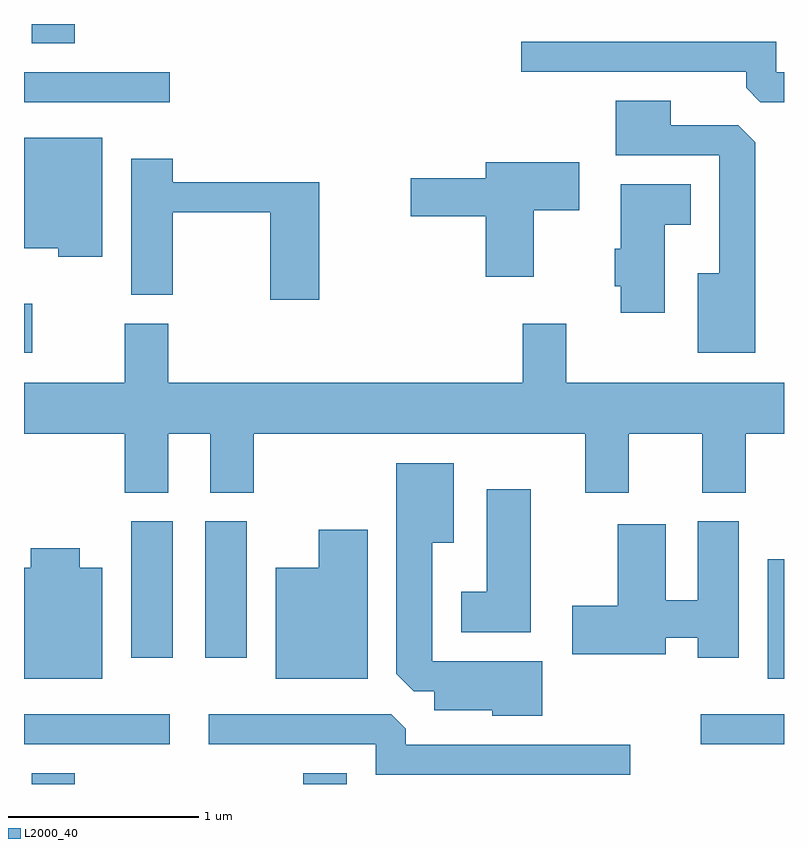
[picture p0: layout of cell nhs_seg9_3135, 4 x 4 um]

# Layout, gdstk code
import gdstk
lib = gdstk.Library(unit=1e-6, precision=1e-09)
def R(c, l, rs):  # rectangles x0, y0, x1, y1
    for r in rs: c.add(gdstk.rectangle(r[:2], r[2:], *l))
def P(c, l, *ps):  # polygons
    for p in ps: c.add(gdstk.Polygon(p, *l))
L2000_40 = (2000, 40)

nhs_seg9_3135 = lib.new_cell('nhs_seg9_3135')
R(nhs_seg9_3135, L2000_40, [(277.651,1974.432,277.879,1974.489), (279.081,1974.432,279.309,1974.489), (277.611,1974.641,278.378,1974.799), (281.173,1974.641,281.611,1974.799), (281.526,1974.986,281.611,1975.614), (278.176,1975.096,278.394,1975.814), (278.566,1975.096,278.784,1975.814), (277.611,1976.701,277.654,1976.959), (277.611,1978.021,278.378,1978.179), (277.651,1978.331,277.879,1978.432)])
P(nhs_seg9_3135, L2000_40, [(281.611,1978.179),(281.569,1978.179),(281.569,1978.339),(280.228,1978.339),(280.228,1978.181),(281.411,1978.181),(281.411,1978.097),(281.487,1978.021),(281.611,1978.021)],
  [(281.459,1977.809),(281.369,1977.899),(281.014,1977.899),(281.014,1978.029),(280.726,1978.029),(280.726,1977.741),(281.271,1977.741),(281.271,1977.119),(281.156,1977.119),(281.156,1976.701),(281.459,1976.701)],
  [(278.024,1977.834),(277.611,1977.834),(277.611,1977.251),(277.791,1977.251),(277.791,1977.206),(278.024,1977.206)],
  [(279.164,1977.599),(278.394,1977.599),(278.394,1977.724),(278.176,1977.724),(278.176,1977.006),(278.394,1977.006),(278.394,1977.441),(278.906,1977.441),(278.906,1976.981),(279.164,1976.981)],
  [(280.294,1977.451),(280.534,1977.451),(280.534,1977.704),(280.041,1977.704),(280.041,1977.619),(279.646,1977.619),(279.646,1977.421),(280.041,1977.421),(280.041,1977.101),(280.294,1977.101)],
  [(280.984,1977.376),(281.119,1977.376),(281.119,1977.589),(280.751,1977.589),(280.751,1977.249),(280.721,1977.249),(280.721,1977.051),(280.751,1977.051),(280.751,1976.911),(280.984,1976.911)],
  [(278.369,1976.276),(278.591,1976.276),(278.591,1975.966),(278.819,1975.966),(278.819,1976.276),(280.566,1976.276),(280.566,1975.966),(280.794,1975.966),(280.794,1976.276),(281.181,1976.276),(281.181,1975.966),(281.409,1975.966),(281.409,1976.276),(281.611,1976.276),(281.611,1976.544),(280.464,1976.544),(280.464,1976.854),(280.236,1976.854),(280.236,1976.544),(278.369,1976.544),(278.369,1976.854),(278.141,1976.854),(278.141,1976.544),(277.611,1976.544),(277.611,1976.276),(278.141,1976.276),(278.141,1975.966),(278.369,1975.966)],
  [(280.339,1975.079),(279.759,1975.079),(279.759,1975.701),(279.874,1975.701),(279.874,1976.119),(279.571,1976.119),(279.571,1975.012),(279.662,1974.921),(279.771,1974.921),(279.771,1974.821),(280.076,1974.821),(280.076,1974.791),(280.339,1974.791)],
  [(280.279,1975.984),(280.046,1975.984),(280.046,1975.444),(279.911,1975.444),(279.911,1975.231),(280.279,1975.231)],
  [(281.374,1975.814),(281.156,1975.814),(281.156,1975.399),(280.989,1975.399),(280.989,1975.799),(280.736,1975.799),(280.736,1975.369),(280.496,1975.369),(280.496,1975.116),(280.989,1975.116),(280.989,1975.201),(281.156,1975.201),(281.156,1975.096),(281.374,1975.096)],
  [(279.419,1975.769),(279.161,1975.769),(279.161,1975.569),(278.936,1975.569),(278.936,1974.986),(279.419,1974.986)],
  [(278.024,1975.569),(277.904,1975.569),(277.904,1975.674),(277.646,1975.674),(277.646,1975.569),(277.611,1975.569),(277.611,1974.986),(278.024,1974.986)],
  [(280.803,1974.639),(279.619,1974.639),(279.619,1974.724),(279.544,1974.799),(278.583,1974.799),(278.583,1974.641),(279.461,1974.641),(279.461,1974.481),(280.803,1974.481)])

lib.write_gds('nhs_seg9_3135.gds')
